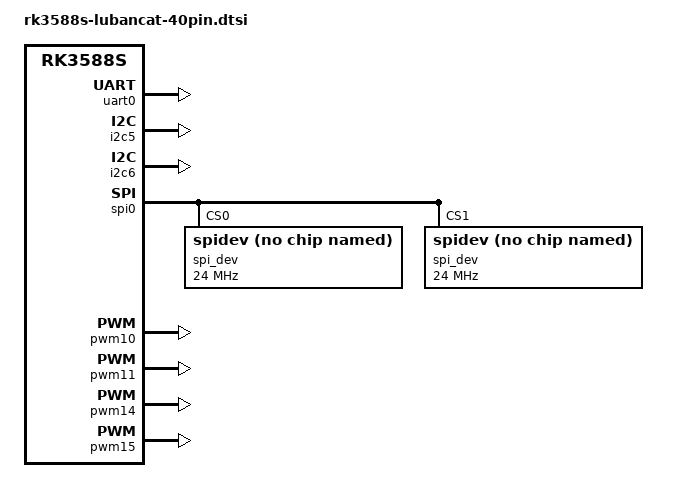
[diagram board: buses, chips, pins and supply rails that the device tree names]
// SPDX-License-Identifier: (GPL-2.0+ OR MIT)
/*
 * Copyright (c) 2020 Rockchip Electronics Co., Ltd.
 *
 */

&uart0 {
	status = "okay";
	pinctrl-names = "default";
	pinctrl-0 = <&uart0m2_xfer>;
};

&i2c5 {
	status = "okay";
	pinctrl-names = "default";
	pinctrl-0 = <&i2c5m3_xfer>;
};

&i2c6 {
	status = "okay";
	pinctrl-names = "default";
	pinctrl-0 = <&i2c6m3_xfer>;
};

&spi0 {
	status = "okay";
	pinctrl-names = "default";
	pinctrl-0 = <&spi0m2_cs0 &spi0m2_cs1 &spi0m2_pins>;
	num-cs = <2>;

	spi_dev@0 {
		compatible = "rockchip,spidev";
		reg = <0>; //chip select 0:cs0  1:cs1
		spi-max-frequency = <24000000>; //spi output clock
	};

	spi_dev@1 {
		compatible = "rockchip,spidev";
		reg = <1>;
		spi-max-frequency = <24000000>;
	};

//spi调试 注释上面的，开启下面的
//开启drivers/spi/Makefile -> obj-y += spi-rockchip-test.o
//详细测试方法见rk官方SPI开发手册，3.内核测试软件

	// spi_test@0 {
	// 	compatible = "rockchip,spi_test_bus0_cs0";
	// 	id = <0>;
	// 	reg = <0>; //chip select 0:cs0  1:cs1
	// 	spi-max-frequency = <24000000>; //spi output clock
	// };

	// spi_test@1 {
	// 	compatible = "rockchip,spi_test_bus0_cs1";
	// 	id = <1>;
	// 	reg = <1>;
	// 	spi-max-frequency = <24000000>;
	// };
};

&pwm10 {
	pinctrl-0 = <&pwm10m2_pins>;
	status = "okay";
};

&pwm11 {
	pinctrl-0 = <&pwm11m3_pins>;
	status = "okay";
};

&pwm14 {
	pinctrl-0 = <&pwm14m2_pins>;
	status = "okay";
};

&pwm15 {
	pinctrl-0 = <&pwm15m3_pins>;
	status = "okay";
};
